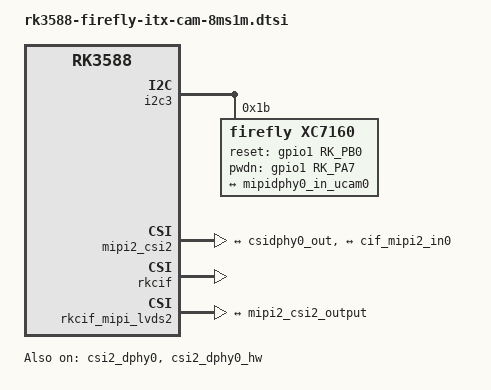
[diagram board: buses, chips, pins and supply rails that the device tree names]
// SPDX-License-Identifier: (GPL-2.0+ OR MIT)
/*
 * Copyright (c) 2021 Rockchip Electronics Co., Ltd.
 *
 */

/ {
	cam_ircut0: cam_ircut {
		status = "disabled";
		compatible = "rockchip,ircut";
		ircut-open-gpios = <&gpio4 RK_PA6 GPIO_ACTIVE_HIGH>;
		ircut-close-gpios  = <&gpio4 RK_PA7 GPIO_ACTIVE_HIGH>;
		rockchip,camera-module-index = <0>;
		rockchip,camera-module-facing = "back";
	};
};

&csi2_dphy0 {
	status = "okay";

	ports {
		#address-cells = <1>;
		#size-cells = <0>;
		port@0 {
			reg = <0>;
			#address-cells = <1>;
			#size-cells = <0>;

			mipidphy0_in_ucam0: endpoint@1 {
				reg = <1>;
				remote-endpoint = <&xc7160_out0>;
				data-lanes = <1 2 3 4>;
			};
		};
		port@1 {
			reg = <1>;
			#address-cells = <1>;
			#size-cells = <0>;

			csidphy0_out: endpoint@0 {
				reg = <0>;
				remote-endpoint = <&mipi2_csi2_input>;
			};
		};
	};
};

&csi2_dphy0_hw {
	status = "okay";
};

&i2c3 {
	status = "okay";

        XC7160: XC7160b@1b{
               compatible = "firefly,xc7160";
               reg = <0x1b>;
               clocks = <&cru CLK_MIPI_CAMARAOUT_M3>;
               clock-names = "xvclk";
               pinctrl-names = "default";
               pinctrl-0 = <&mipim0_camera3_clk>;
               power-domains = <&power RK3588_PD_VI>;

               reset-gpios = <&gpio1 RK_PB0 GPIO_ACTIVE_HIGH>;
               pwdn-gpios = <&gpio1 RK_PA7 GPIO_ACTIVE_HIGH>;

               firefly,clkout-enabled-index = <0>;
               rockchip,camera-module-index = <0>;
               rockchip,camera-module-facing = "back";
               rockchip,camera-module-name = "NC";
               rockchip,camera-module-lens-name = "NC";
               port {
                        xc7160_out0: endpoint {
                               remote-endpoint = <&mipidphy0_in_ucam0>;
                               data-lanes = <1 2 3 4>;
                       };
               };
       };

};

&mipi2_csi2 {
	status = "okay";

	ports {
		#address-cells = <1>;
		#size-cells = <0>;

		port@0 {
			reg = <0>;
			#address-cells = <1>;
			#size-cells = <0>;

			mipi2_csi2_input: endpoint@1 {
				reg = <1>;
				remote-endpoint = <&csidphy0_out>;
			};
		};

		port@1 {
			reg = <1>;
			#address-cells = <1>;
			#size-cells = <0>;

			mipi2_csi2_output: endpoint@0 {
				reg = <0>;
				remote-endpoint = <&cif_mipi2_in0>;
			};
		};
	};
};

&pinctrl {
	cam {
		mipidphy0_pwr: mipidphy0-pwr {
			rockchip,pins =
				/* camera power en */
				<1 RK_PB1 RK_FUNC_GPIO &pcfg_pull_none>;
		};
	};
};

&rkcif {
	status = "okay";
};

&rkcif_mipi_lvds2 {
	status = "okay";
	firefly,yuv_camera;

	port {
		cif_mipi2_in0: endpoint {
			remote-endpoint = <&mipi2_csi2_output>;
		};
	};
};

&rkcif_mipi_lvds2_sditf {
	status = "disabled";

	port {
		mipi_lvds2_sditf: endpoint {
			remote-endpoint = <&isp0_vir0>;
		};
	};
};

&rkcif_mmu {
	status = "okay";
};

&rkisp0 {
	status = "disabled";
};

&isp0_mmu {
	status = "disabled";
};

&rkisp0_vir0 {
	status = "disabled";

	port {
		#address-cells = <1>;
		#size-cells = <0>;

		isp0_vir0: endpoint@0 {
			reg = <0>;
			remote-endpoint = <&mipi_lvds2_sditf>;
		};
	};
};
